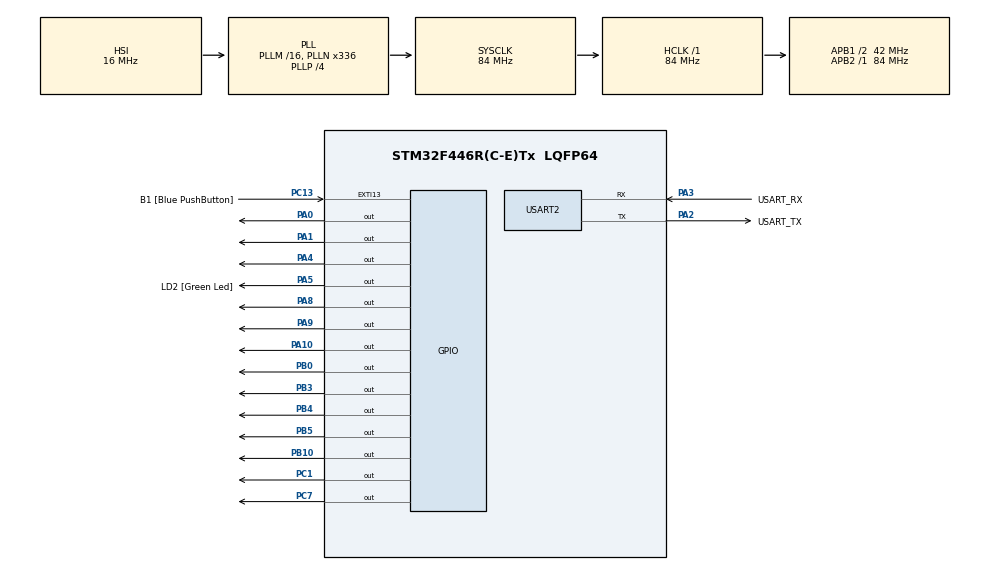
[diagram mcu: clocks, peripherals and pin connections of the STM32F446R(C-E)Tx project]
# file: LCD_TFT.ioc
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Mcu.Family=STM32F4
Mcu.Name=STM32F446R(C-E)Tx
Mcu.Package=LQFP64
NVIC.PriorityGroup=NVIC_PRIORITYGROUP_0
PA0-WKUP.Signal=GPIO_Output
PA1.Signal=GPIO_Output
PA10.Signal=GPIO_Output
PA13.GPIO_Label=TMS
PA13.Mode=Serial_Wire
PA13.Signal=SYS_JTMS-SWDIO
PA14.GPIO_Label=TCK
PA14.Mode=Serial_Wire
PA14.Signal=SYS_JTCK-SWCLK
PA2.GPIO_Label=USART_TX
PA2.Mode=Asynchronous
PA2.Signal=USART2_TX
PA3.GPIO_Label=USART_RX
PA3.Mode=Asynchronous
PA3.Signal=USART2_RX
PA4.Signal=GPIO_Output
PA5.GPIO_Label=LD2 [Green Led]
PA5.Signal=GPIO_Output
PA8.Signal=GPIO_Output
PA9.Signal=GPIO_Output
PB0.Signal=GPIO_Output
PB10.Signal=GPIO_Output
PB3.Signal=GPIO_Output
PB4.Signal=GPIO_Output
PB5.Signal=GPIO_Output
PC1.Signal=GPIO_Output
PC13.GPIO_Label=B1 [Blue PushButton]
PC13.GPIO_ModeDefaultEXTI=GPIO_MODE_IT_FALLING
PC13.Signal=GPXTI13
PC14-OSC32_IN.Mode=LSE-External-Oscillator
PC14-OSC32_IN.Signal=RCC_OSC32_IN
PC15-OSC32_OUT.Mode=LSE-External-Oscillator
PC15-OSC32_OUT.Signal=RCC_OSC32_OUT
PC7.Signal=GPIO_Output
PH0-OSC_IN.Mode=HSE-External-Oscillator
PH0-OSC_IN.Signal=RCC_OSC_IN
PH1-OSC_OUT.Mode=HSE-External-Oscillator
PH1-OSC_OUT.Signal=RCC_OSC_OUT
ProjectManager.HeapSize=0x200
ProjectManager.StackSize=0x400
ProjectManager.TargetToolchain=STM32CubeIDE
RCC.48MHZClocksFreq_Value=84000000
RCC.AHBFreq_Value=84000000
RCC.APB1CLKDivider=RCC_HCLK_DIV2
RCC.APB1Freq_Value=42000000
RCC.APB1TimFreq_Value=84000000
RCC.APB2Freq_Value=84000000
RCC.APB2TimFreq_Value=84000000
RCC.CortexFreq_Value=84000000
RCC.FLatency-AdvancedSettings=FLASH_LATENCY_2
RCC.HCLKFreq_Value=84000000
RCC.HSE_VALUE=8000000
RCC.HSI_VALUE=16000000
RCC.PLLN=336
RCC.PLLP=RCC_PLLP_DIV4
RCC.SYSCLKFreq_VALUE=84000000
RCC.SYSCLKSource=RCC_SYSCLKSOURCE_PLLCLK
RCC.USBFreq_Value=168000000
RCC.VCOOutputFreq_Value=336000000
TIM1.AutoReloadPreload=TIM_AUTORELOAD_PRELOAD_ENABLE
TIM1.Period=0xFFFF-1
TIM1.Prescaler=84-1
USART2.VirtualMode=VM_ASYNC
VP_TIM1_VS_ClockSourceINT.Mode=Internal
board=NUCLEO-F446RE

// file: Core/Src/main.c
/* USER CODE BEGIN Header */
/**
  ******************************************************************************
  * @file           : main.c
  * @brief          : Main program body
  ******************************************************************************
  * @attention
  *
  * Copyright (c) 2024 STMicroelectronics.
  * All rights reserved.
  *
  * This software is licensed under terms that can be found in the LICENSE file
  * in the root directory of this software component.
  * If no LICENSE file comes with this software, it is provided AS-IS.
  *
  ******************************************************************************
  */
/* USER CODE END Header */
#include "main.h"

/* USER CODE BEGIN Includes */
#include "tft.h"
#include "fonts.h"
#include "user_setting.h"
/* USER CODE END Includes */

TIM_HandleTypeDef htim1;

UART_HandleTypeDef huart2;

/* USER CODE BEGIN PV */
uint16_t ID=0;
/* USER CODE END PV */

void SystemClock_Config(void);
static void MX_GPIO_Init(void);
static void MX_USART2_UART_Init(void);
static void MX_TIM1_Init(void);

int main(void)
{

  /* MCU Configuration--------------------------------------------------------*/

  /* Reset of all peripherals, Initializes the Flash interface and the Systick. */
  HAL_Init();

  /* Configure the system clock */
  SystemClock_Config();

  /* Initialize all configured peripherals */
  MX_GPIO_Init();
  MX_USART2_UART_Init();
  MX_TIM1_Init();
  /* USER CODE BEGIN 2 */
  tft_gpio_init();
  HAL_TIM_Base_Start(&htim1);
  ID = tft_readID();
  HAL_Delay(100);
  tft_init (ID);
  tft_setRotation(3);
  tft_fillScreen(BLACK);

  //tft_fillCircle(160, 120, 40,CYAN);
  //tft_fillTriangle(160,120, 110, 145, 110, 95, BLACK );
  //tft_fillCircle(145, 95, 5, BLACK);
 // tft_fillCircle(130, 120, 8, BLUE);
 // tft_fillCircle(100, 120, 8, BLUE);
  //tft_drawPixel(160, 120, CYAN);
  tft_fillRect(0, 180, 320, 5, BLUE);
  tft_fillRect(0,  60, 320, 5, BLUE);
  //tft_fillCircle(230, 120, 40,BLACK);
 // tft_fillCircle(50, 120, 40,YELLOW);
  //tft_fillCircle(65, 95, 5, BLACK);
 // tft_fillTriangle(50,120, 95, 145, 195, 95, BLACK );

  tft_fillCircle(50, 120, 40,YELLOW);
  tft_fillCircle(65, 95, 5, BLACK);
  tft_fillTriangle(50,120, 110, 145, 110, 95, BLACK );

  tft_fillCircle(240, 120, 8, YELLOW);
  tft_fillCircle(200, 120, 8, YELLOW);
  tft_fillCircle(160, 120, 8, YELLOW);
  tft_fillCircle(120, 120, 8, YELLOW);
  tft_fillCircle(80,  120, 8, YELLOW);
  tft_fillCircle(40,  120, 8, YELLOW);

  tft_printnewtstr(40, BLUE, &mono18x7bold, 1, (uint8_t*)"PAC-MAN");

  HAL_Delay(400);

  /* USER CODE END 2 */

  /* Infinite loop */
  while (1)
  {

    /* USER CODE BEGIN 3 */

	  tft_fillCircle(105, 120, 40,BLACK);

	  tft_fillCircle(50, 120, 40,YELLOW);
	  tft_fillCircle(65, 95, 5, BLACK);
	  tft_fillTriangle(50,120, 110, 145, 110, 95, BLACK );

	  tft_fillCircle(240, 120, 8, YELLOW);
	  tft_fillCircle(200, 120, 8, YELLOW);
	  tft_fillCircle(160, 120, 8, YELLOW);
	  tft_fillCircle(120, 120, 8, YELLOW);
	  tft_fillCircle(80,  120, 8, YELLOW);
	  tft_fillCircle(40,  120, 8, YELLOW);

	  HAL_Delay(400);

	  tft_fillCircle(50, 120, 40,YELLOW);
	  tft_fillCircle(65, 95, 5, BLACK);

	  HAL_Delay(400);

	  tft_fillCircle(50, 120, 40,BLACK);

	  tft_fillCircle(65, 120, 40,YELLOW);
	  tft_fillCircle(80, 95, 5, BLACK);
	  tft_fillTriangle(65,120, 110, 145, 110, 95, BLACK );

	  HAL_Delay(400);

	  tft_fillCircle(65, 120, 40,YELLOW);
	  tft_fillCircle(80, 95, 5, BLACK);

	  HAL_Delay(400);

	  tft_fillCircle(65, 120, 40,BLACK);

	  tft_fillCircle(90, 120, 40,YELLOW);
	  tft_fillCircle(105, 95, 5, BLACK);
	  tft_fillTriangle(90,120, 150, 145, 150, 95, BLACK );

	  tft_fillCircle(240, 120, 8, YELLOW);
	  tft_fillCircle(200, 120, 8, YELLOW);
	  tft_fillCircle(160, 120, 8, YELLOW);
	  tft_fillCircle(120, 120, 8, YELLOW);
	  tft_fillCircle(80,  120, 8, YELLOW);

	  HAL_Delay(400);

	  tft_fillCircle(90, 120, 40,YELLOW);
	  tft_fillCircle(105, 95, 5, BLACK);

	  tft_fillCircle(240, 120, 8, YELLOW);
	  tft_fillCircle(200, 120, 8, YELLOW);
	  tft_fillCircle(160, 120, 8, YELLOW);
	  tft_fillCircle(120, 120, 8, YELLOW);

	  HAL_Delay(400);

	  tft_fillCircle(90, 120, 40,BLACK);

	  tft_fillCircle(105, 120, 40,YELLOW);
	  tft_fillCircle(120, 95, 5, BLACK);
	  tft_fillTriangle(90,120, 150, 145, 150, 95, BLACK );

	  HAL_Delay(400);

  }
  /* USER CODE END 3 */
}

void SystemClock_Config(void)
{
  RCC_OscInitTypeDef RCC_OscInitStruct = {0};
  RCC_ClkInitTypeDef RCC_ClkInitStruct = {0};

  /** Configure the main internal regulator output voltage
  */
  __HAL_RCC_PWR_CLK_ENABLE();
  __HAL_PWR_VOLTAGESCALING_CONFIG(PWR_REGULATOR_VOLTAGE_SCALE3);

  /** Initializes the RCC Oscillators according to the specified parameters
  * in the RCC_OscInitTypeDef structure.
  */
  RCC_OscInitStruct.OscillatorType = RCC_OSCILLATORTYPE_HSI;
  RCC_OscInitStruct.HSIState = RCC_HSI_ON;
  RCC_OscInitStruct.HSICalibrationValue = RCC_HSICALIBRATION_DEFAULT;
  RCC_OscInitStruct.PLL.PLLState = RCC_PLL_ON;
  RCC_OscInitStruct.PLL.PLLSource = RCC_PLLSOURCE_HSI;
  RCC_OscInitStruct.PLL.PLLM = 16;
  RCC_OscInitStruct.PLL.PLLN = 336;
  RCC_OscInitStruct.PLL.PLLP = RCC_PLLP_DIV4;
  RCC_OscInitStruct.PLL.PLLQ = 2;
  RCC_OscInitStruct.PLL.PLLR = 2;
  if (HAL_RCC_OscConfig(&RCC_OscInitStruct) != HAL_OK)
  {
    Error_Handler();
  }

  /** Initializes the CPU, AHB and APB buses clocks
  */
  RCC_ClkInitStruct.ClockType = RCC_CLOCKTYPE_HCLK|RCC_CLOCKTYPE_SYSCLK
                              |RCC_CLOCKTYPE_PCLK1|RCC_CLOCKTYPE_PCLK2;
  RCC_ClkInitStruct.SYSCLKSource = RCC_SYSCLKSOURCE_PLLCLK;
  RCC_ClkInitStruct.AHBCLKDivider = RCC_SYSCLK_DIV1;
  RCC_ClkInitStruct.APB1CLKDivider = RCC_HCLK_DIV2;
  RCC_ClkInitStruct.APB2CLKDivider = RCC_HCLK_DIV1;

  if (HAL_RCC_ClockConfig(&RCC_ClkInitStruct, FLASH_LATENCY_2) != HAL_OK)
  {
    Error_Handler();
  }
}

static void MX_TIM1_Init(void)
{

  TIM_ClockConfigTypeDef sClockSourceConfig = {0};
  TIM_MasterConfigTypeDef sMasterConfig = {0};

  htim1.Instance = TIM1;
  htim1.Init.Prescaler = 84-1;
  htim1.Init.CounterMode = TIM_COUNTERMODE_UP;
  htim1.Init.Period = 0xFFFF-1;
  htim1.Init.ClockDivision = TIM_CLOCKDIVISION_DIV1;
  htim1.Init.RepetitionCounter = 0;
  htim1.Init.AutoReloadPreload = TIM_AUTORELOAD_PRELOAD_ENABLE;
  if (HAL_TIM_Base_Init(&htim1) != HAL_OK)
  {
    Error_Handler();
  }
  sClockSourceConfig.ClockSource = TIM_CLOCKSOURCE_INTERNAL;
  if (HAL_TIM_ConfigClockSource(&htim1, &sClockSourceConfig) != HAL_OK)
  {
    Error_Handler();
  }
  sMasterConfig.MasterOutputTrigger = TIM_TRGO_RESET;
  sMasterConfig.MasterSlaveMode = TIM_MASTERSLAVEMODE_DISABLE;
  if (HAL_TIMEx_MasterConfigSynchronization(&htim1, &sMasterConfig) != HAL_OK)
  {
    Error_Handler();
  }

}

static void MX_USART2_UART_Init(void)
{

  huart2.Instance = USART2;
  huart2.Init.BaudRate = 115200;
  huart2.Init.WordLength = UART_WORDLENGTH_8B;
  huart2.Init.StopBits = UART_STOPBITS_1;
  huart2.Init.Parity = UART_PARITY_NONE;
  huart2.Init.Mode = UART_MODE_TX_RX;
  huart2.Init.HwFlowCtl = UART_HWCONTROL_NONE;
  huart2.Init.OverSampling = UART_OVERSAMPLING_16;
  if (HAL_UART_Init(&huart2) != HAL_OK)
  {
    Error_Handler();
  }

}

static void MX_GPIO_Init(void)
{
  GPIO_InitTypeDef GPIO_InitStruct = {0};

  /* GPIO Ports Clock Enable */
  __HAL_RCC_GPIOC_CLK_ENABLE();
  __HAL_RCC_GPIOH_CLK_ENABLE();
  __HAL_RCC_GPIOA_CLK_ENABLE();
  __HAL_RCC_GPIOB_CLK_ENABLE();

  /*Configure GPIO pin Output Level */
  HAL_GPIO_WritePin(GPIOC, GPIO_PIN_1|GPIO_PIN_7, GPIO_PIN_RESET);

  /*Configure GPIO pin Output Level */
  HAL_GPIO_WritePin(GPIOA, GPIO_PIN_0|GPIO_PIN_1|GPIO_PIN_4|LD2_Pin
                          |GPIO_PIN_8|GPIO_PIN_9|GPIO_PIN_10, GPIO_PIN_RESET);

  /*Configure GPIO pin Output Level */
  HAL_GPIO_WritePin(GPIOB, GPIO_PIN_0|GPIO_PIN_10|GPIO_PIN_3|GPIO_PIN_4
                          |GPIO_PIN_5, GPIO_PIN_RESET);

  /*Configure GPIO pin : B1_Pin */
  GPIO_InitStruct.Pin = B1_Pin;
  GPIO_InitStruct.Mode = GPIO_MODE_IT_FALLING;
  GPIO_InitStruct.Pull = GPIO_NOPULL;
  HAL_GPIO_Init(B1_GPIO_Port, &GPIO_InitStruct);

  /*Configure GPIO pins : PC1 PC7 */
  GPIO_InitStruct.Pin = GPIO_PIN_1|GPIO_PIN_7;
  GPIO_InitStruct.Mode = GPIO_MODE_OUTPUT_PP;
  GPIO_InitStruct.Pull = GPIO_NOPULL;
  GPIO_InitStruct.Speed = GPIO_SPEED_FREQ_LOW;
  HAL_GPIO_Init(GPIOC, &GPIO_InitStruct);

  /*Configure GPIO pins : PA0 PA1 PA4 LD2_Pin
                           PA8 PA9 PA10 */
  GPIO_InitStruct.Pin = GPIO_PIN_0|GPIO_PIN_1|GPIO_PIN_4|LD2_Pin
                          |GPIO_PIN_8|GPIO_PIN_9|GPIO_PIN_10;
  GPIO_InitStruct.Mode = GPIO_MODE_OUTPUT_PP;
  GPIO_InitStruct.Pull = GPIO_NOPULL;
  GPIO_InitStruct.Speed = GPIO_SPEED_FREQ_LOW;
  HAL_GPIO_Init(GPIOA, &GPIO_InitStruct);

  /*Configure GPIO pins : PB0 PB10 PB3 PB4
                           PB5 */
  GPIO_InitStruct.Pin = GPIO_PIN_0|GPIO_PIN_10|GPIO_PIN_3|GPIO_PIN_4
                          |GPIO_PIN_5;
  GPIO_InitStruct.Mode = GPIO_MODE_OUTPUT_PP;
  GPIO_InitStruct.Pull = GPIO_NOPULL;
  GPIO_InitStruct.Speed = GPIO_SPEED_FREQ_LOW;
  HAL_GPIO_Init(GPIOB, &GPIO_InitStruct);

}

void Error_Handler(void)
{
  __disable_irq();
  while (1)
  {
  }
}
